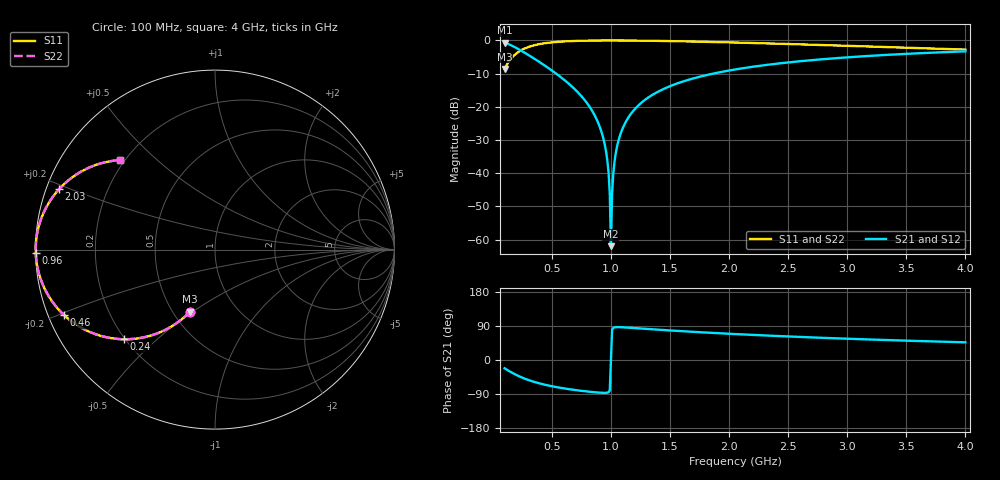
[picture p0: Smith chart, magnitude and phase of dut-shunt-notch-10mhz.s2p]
! Generated by 参数面去嵌台 (reference-plane de-embed bench)
# GHz S RI R 50
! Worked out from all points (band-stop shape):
!   391 points, 100 MHz to 4 GHz, reference 50 ohm
!   highest |S21| = -0.65 dB at 100 MHz (marker M1); lowest = -61.9 dB at 1 GHz (marker M2)
!   |S21| within 3 dB of the highest: start of sweep to 267.6 MHz; 3.736 GHz to end of sweep
!   lowest |S11| = -8.6 dB at 100 MHz (marker M3), VSWR 2.19, Z = 30.4 - j24.4 ohm
!   |S11| at or under -10 dB: nowhere
!   |S22| runs from -8.6 to 0.0 dB; largest |S21 - S12| = 0
!   S11 on the Smith chart (normalised r, x): 100 MHz: 0.61, -0.49; 240 MHz: 0.20, -0.40; 460 MHz: 0.04, -0.21; 960 MHz: 0.00, -0.01; 2.03 GHz: 0.04, +0.19; 4 GHz: 0.18, +0.39
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0.1  -0.1391 -0.3459  0.8609 -0.3459  0.8609 -0.3459  -0.1391 -0.3459
0.24  -0.5066 -0.4996  0.4934 -0.4996  0.4934 -0.4996  -0.5066 -0.4996
0.46  -0.843 -0.3628  0.157 -0.3628  0.157 -0.3628  -0.843 -0.3628
0.75  -0.9782 -0.1433  0.0218 -0.1433  0.0218 -0.1433  -0.9782 -0.1433
0.89  -0.9958 -0.0584  0.00423 -0.0584  0.00423 -0.0584  -0.9958 -0.0584
0.93  -0.9979 -0.0364  0.00213 -0.0364  0.00213 -0.0364  -0.9979 -0.0364
0.96  -0.9988 -0.0205  0.00122 -0.0205  0.00122 -0.0205  -0.9988 -0.0205
0.98  -0.9991 -0.0101  0.000902 -0.0101  0.000902 -0.0101  -0.9991 -0.0101
0.99  -0.9992 -0.00504  0.000825 -0.00504  0.000825 -0.00504  -0.9992 -0.00504
1  -0.9992 0  0.000799 0  0.000799 0  -0.9992 0
1.01  -0.9992 0.00499  0.000824 0.00499  0.000824 0.00499  -0.9992 0.00499
1.02  -0.9991 0.00994  0.000898 0.00994  0.000898 0.00994  -0.9991 0.00994
1.04  -0.9988 0.0197  0.00119 0.0197  0.00119 0.0197  -0.9988 0.0197
1.07  -0.998 0.0339  0.00195 0.0339  0.00195 0.0339  -0.998 0.0339
1.12  -0.996 0.0568  0.00404 0.0568  0.00404 0.0568  -0.996 0.0568
1.19  -0.9916 0.0871  0.00844 0.0871  0.00844 0.0871  -0.9916 0.0871
1.4  -0.9704 0.1671  0.0296 0.1671  0.0296 0.1671  -0.9704 0.1671
2.03  -0.8696 0.3357  0.1304 0.3357  0.1304 0.3357  -0.8696 0.3357
2.06  -0.8641 0.3417  0.1359 0.3417  0.1359 0.3417  -0.8641 0.3417
2.7  -0.7444 0.4355  0.2556 0.4355  0.2556 0.4355  -0.7444 0.4355
3.35  -0.6295 0.4824  0.3705 0.4824  0.3705 0.4824  -0.6295 0.4824
4  -0.5296 0.4987  0.4704 0.4987  0.4704 0.4987  -0.5296 0.4987
